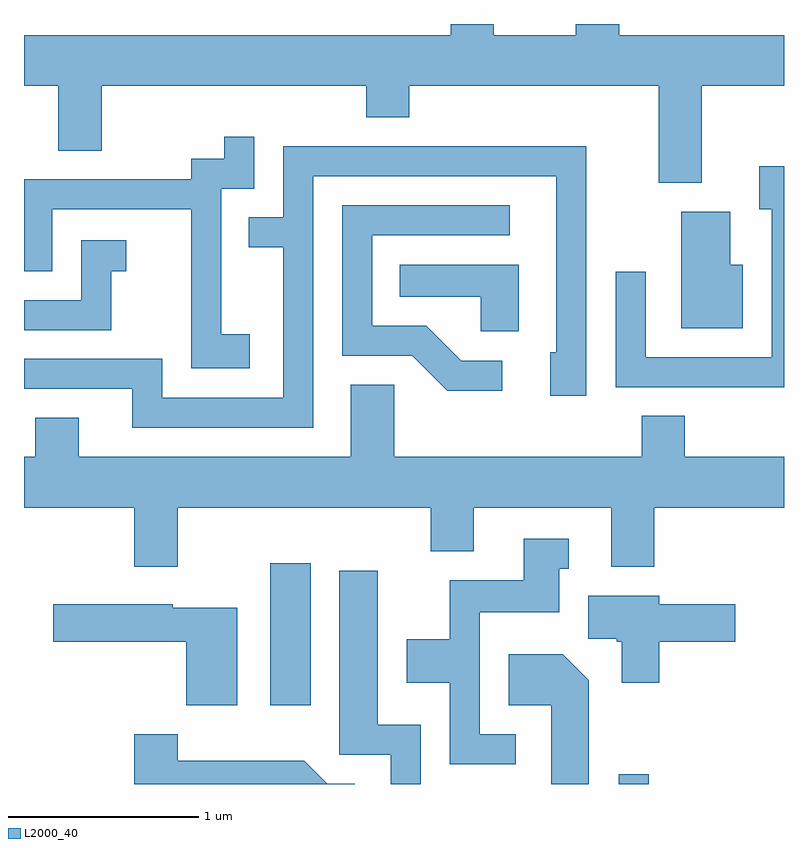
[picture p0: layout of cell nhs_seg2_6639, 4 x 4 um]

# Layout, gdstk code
import gdstk
lib = gdstk.Library(unit=1e-6, precision=1e-09)
def R(c, l, rs):  # rectangles x0, y0, x1, y1
    for r in rs: c.add(gdstk.rectangle(r[:2], r[2:], *l))
def P(c, l, *ps):  # polygons
    for p in ps: c.add(gdstk.Polygon(p, *l))
L2000_40 = (2000, 40)

nhs_seg2_6639 = lib.new_cell('nhs_seg2_6639')
R(nhs_seg2_6639, L2000_40, [(384.741,995.802,384.899,995.853), (382.906,996.216,383.119,996.964)])
P(nhs_seg2_6639, L2000_40, [(385.179,999.476),(385.611,999.476),(385.611,999.744),(384.744,999.744),(384.744,999.802),(384.516,999.802),(384.516,999.744),(384.084,999.744),(384.084,999.802),(383.856,999.802),(383.856,999.744),(381.611,999.744),(381.611,999.476),(381.791,999.476),(381.791,999.136),(382.019,999.136),(382.019,999.476),(383.411,999.476),(383.411,999.311),(383.639,999.311),(383.639,999.476),(384.951,999.476),(384.951,998.966),(385.179,998.966)],
  [(382.799,998.169),(382.649,998.169),(382.649,998.936),(382.824,998.936),(382.824,999.208),(382.666,999.208),(382.666,999.094),(382.491,999.094),(382.491,998.984),(381.611,998.984),(381.611,998.501),(381.759,998.501),(381.759,998.826),(382.491,998.826),(382.491,997.991),(382.799,997.991)],
  [(383.134,999.001),(384.411,999.001),(384.411,998.074),(384.381,998.074),(384.381,997.846),(384.569,997.846),(384.569,999.159),(382.976,999.159),(382.976,998.784),(382.793,998.784),(382.793,998.626),(382.976,998.626),(382.976,997.834),(382.339,997.834),(382.339,998.039),(381.611,998.039),(381.611,997.881),(382.181,997.881),(382.181,997.676),(383.134,997.676)],
  [(385.611,999.054),(385.481,999.054),(385.481,998.826),(385.546,998.826),(385.546,998.049),(384.884,998.049),(384.884,998.498),(384.726,998.498),(384.726,997.891),(385.611,997.891)],
  [(384.128,998.029),(383.912,998.029),(383.727,998.214),(383.444,998.214),(383.444,998.691),(384.168,998.691),(384.168,998.849),(383.286,998.849),(383.286,998.056),(383.654,998.056),(383.839,997.871),(384.128,997.871)],
  [(385.394,998.534),(385.329,998.534),(385.329,998.814),(385.071,998.814),(385.071,998.201),(385.394,998.201)],
  [(382.069,998.501),(382.148,998.501),(382.148,998.664),(381.911,998.664),(381.911,998.349),(381.611,998.349),(381.611,998.191),(382.069,998.191)],
  [(384.214,998.534),(383.588,998.534),(383.588,998.366),(384.016,998.366),(384.016,998.186),(384.214,998.186)],
  [(382.419,997.256),(383.751,997.256),(383.751,997.026),(383.979,997.026),(383.979,997.256),(384.701,997.256),(384.701,996.946),(384.929,996.946),(384.929,997.256),(385.611,997.256),(385.611,997.524),(385.089,997.524),(385.089,997.739),(384.861,997.739),(384.861,997.524),(383.559,997.524),(383.559,997.904),(383.331,997.904),(383.331,997.524),(381.899,997.524),(381.899,997.729),(381.671,997.729),(381.671,997.524),(381.611,997.524),(381.611,997.256),(382.191,997.256),(382.191,996.946),(382.419,996.946)],
  [(384.198,996.064),(384.009,996.064),(384.009,996.706),(384.429,996.706),(384.429,996.936),(384.478,996.936),(384.478,997.094),(384.241,997.094),(384.241,996.874),(383.851,996.874),(383.851,996.564),(383.626,996.564),(383.626,996.336),(383.851,996.336),(383.851,995.906),(384.198,995.906)],
  [(383.699,996.114),(383.474,996.114),(383.474,996.924),(383.271,996.924),(383.271,995.956),(383.541,995.956),(383.541,995.802),(383.699,995.802)],
  [(384.954,996.551),(385.354,996.551),(385.354,996.749),(384.954,996.749),(384.954,996.794),(384.581,996.794),(384.581,996.566),(384.73,996.566),(384.73,996.551),(384.756,996.551),(384.756,996.336),(384.954,996.336)],
  [(382.734,996.729),(382.394,996.729),(382.394,996.749),(381.766,996.749),(381.766,996.551),(382.466,996.551),(382.466,996.216),(382.734,996.216)],
  [(384.584,996.347),(384.447,996.484),(384.161,996.484),(384.161,996.216),(384.386,996.216),(384.386,995.802),(384.584,995.802)],
  [(383.353,995.804),(383.207,995.804),(383.087,995.924),(382.419,995.924),(382.419,996.064),(382.191,996.064),(382.191,995.802),(383.353,995.802)])

lib.write_gds('nhs_seg2_6639.gds')
